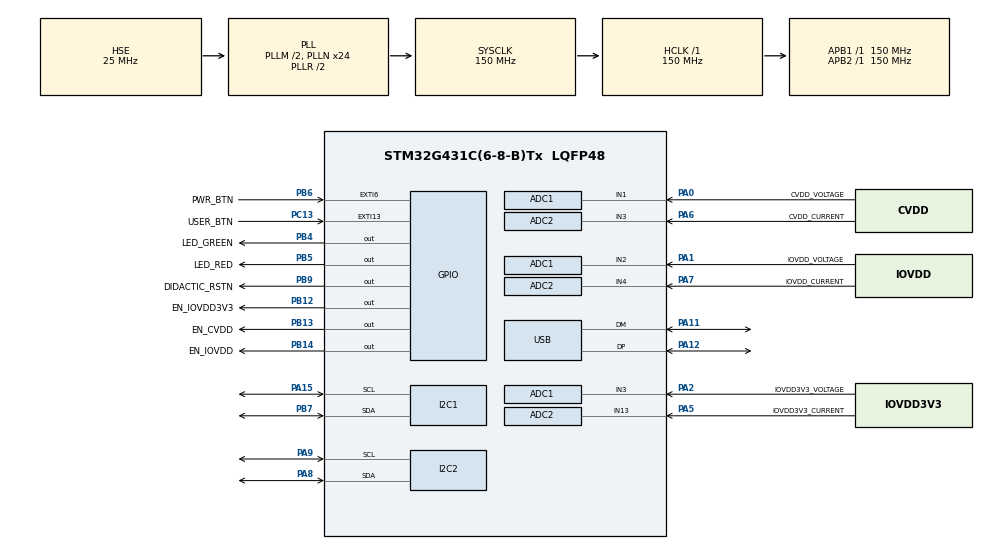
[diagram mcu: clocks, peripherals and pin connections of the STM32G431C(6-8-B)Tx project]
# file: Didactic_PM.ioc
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ADC1.Channel-0\#ChannelRegularConversion=ADC_CHANNEL_1
ADC1.Channel-1\#ChannelRegularConversion=ADC_CHANNEL_2
ADC1.Channel-2\#ChannelRegularConversion=ADC_CHANNEL_3
ADC1.ContinuousConvMode=ENABLE
ADC1.DMAContinuousRequests=DISABLE
ADC1.EOCSelection=ADC_EOC_SEQ_CONV
ADC1.NbrOfConversion=3
ADC1.NbrOfConversionFlag=1
ADC1.OffsetNumber-0\#ChannelRegularConversion=ADC_OFFSET_NONE
ADC1.OffsetNumber-1\#ChannelRegularConversion=ADC_OFFSET_NONE
ADC1.OffsetNumber-2\#ChannelRegularConversion=ADC_OFFSET_NONE
ADC1.Overrun=ADC_OVR_DATA_OVERWRITTEN
ADC1.Rank-0\#ChannelRegularConversion=1
ADC1.Rank-1\#ChannelRegularConversion=2
ADC1.Rank-2\#ChannelRegularConversion=3
ADC1.SamplingTime-0\#ChannelRegularConversion=ADC_SAMPLETIME_12CYCLES_5
ADC1.SamplingTime-1\#ChannelRegularConversion=ADC_SAMPLETIME_12CYCLES_5
ADC1.SamplingTime-2\#ChannelRegularConversion=ADC_SAMPLETIME_12CYCLES_5
ADC1.master=1
ADC2.Channel-0\#ChannelRegularConversion=ADC_CHANNEL_3
ADC2.Channel-1\#ChannelRegularConversion=ADC_CHANNEL_4
ADC2.Channel-2\#ChannelRegularConversion=ADC_CHANNEL_13
ADC2.ContinuousConvMode=ENABLE
ADC2.DMAContinuousRequests=DISABLE
ADC2.EOCSelection=ADC_EOC_SEQ_CONV
ADC2.NbrOfConversion=3
ADC2.NbrOfConversionFlag=1
ADC2.OffsetNumber-0\#ChannelRegularConversion=ADC_OFFSET_NONE
ADC2.OffsetNumber-1\#ChannelRegularConversion=ADC_OFFSET_NONE
ADC2.OffsetNumber-2\#ChannelRegularConversion=ADC_OFFSET_NONE
ADC2.Overrun=ADC_OVR_DATA_OVERWRITTEN
ADC2.Rank-0\#ChannelRegularConversion=1
ADC2.Rank-1\#ChannelRegularConversion=2
ADC2.Rank-2\#ChannelRegularConversion=3
ADC2.SamplingTime-0\#ChannelRegularConversion=ADC_SAMPLETIME_12CYCLES_5
ADC2.SamplingTime-1\#ChannelRegularConversion=ADC_SAMPLETIME_12CYCLES_5
ADC2.SamplingTime-2\#ChannelRegularConversion=ADC_SAMPLETIME_12CYCLES_5
Dma.ADC1.0.Direction=DMA_PERIPH_TO_MEMORY
Dma.ADC1.0.EventEnable=DISABLE
Dma.ADC1.0.Instance=DMA1_Channel1
Dma.ADC1.0.MemDataAlignment=DMA_MDATAALIGN_HALFWORD
Dma.ADC1.0.MemInc=DMA_MINC_ENABLE
Dma.ADC1.0.Mode=DMA_NORMAL
Dma.ADC1.0.PeriphDataAlignment=DMA_PDATAALIGN_HALFWORD
Dma.ADC1.0.PeriphInc=DMA_PINC_DISABLE
Dma.ADC1.0.Polarity=HAL_DMAMUX_REQ_GEN_RISING
Dma.ADC1.0.Priority=DMA_PRIORITY_LOW
Dma.ADC1.0.RequestNumber=1
Dma.ADC1.0.SignalID=NONE
Dma.ADC1.0.SyncEnable=DISABLE
Dma.ADC1.0.SyncPolarity=HAL_DMAMUX_SYNC_NO_EVENT
Dma.ADC1.0.SyncRequestNumber=1
Dma.ADC1.0.SyncSignalID=NONE
Dma.ADC2.1.Direction=DMA_PERIPH_TO_MEMORY
Dma.ADC2.1.EventEnable=DISABLE
Dma.ADC2.1.Instance=DMA1_Channel2
Dma.ADC2.1.MemDataAlignment=DMA_MDATAALIGN_HALFWORD
Dma.ADC2.1.MemInc=DMA_MINC_ENABLE
Dma.ADC2.1.Mode=DMA_NORMAL
Dma.ADC2.1.PeriphDataAlignment=DMA_PDATAALIGN_HALFWORD
Dma.ADC2.1.PeriphInc=DMA_PINC_DISABLE
Dma.ADC2.1.Polarity=HAL_DMAMUX_REQ_GEN_RISING
Dma.ADC2.1.Priority=DMA_PRIORITY_LOW
Dma.ADC2.1.RequestNumber=1
Dma.ADC2.1.SignalID=NONE
Dma.ADC2.1.SyncEnable=DISABLE
Dma.ADC2.1.SyncPolarity=HAL_DMAMUX_SYNC_NO_EVENT
Dma.ADC2.1.SyncRequestNumber=1
Dma.ADC2.1.SyncSignalID=NONE
Dma.Request0=ADC1
Dma.Request1=ADC2
I2C1.Timing=0x30D293D6
I2C2.Timing=0x30D293D6
Mcu.Family=STM32G4
Mcu.Name=STM32G431C(6-8-B)Tx
Mcu.Package=LQFP48
NVIC.DMA1_Channel1_IRQn=true\:0\:0\:false\:false\:true\:false\:true\:true
NVIC.DMA1_Channel2_IRQn=true\:0\:0\:false\:false\:true\:false\:true\:true
NVIC.EXTI15_10_IRQn=true\:0\:0\:false\:false\:true\:true\:true\:true
NVIC.EXTI9_5_IRQn=true\:0\:0\:false\:false\:true\:true\:true\:true
NVIC.PriorityGroup=NVIC_PRIORITYGROUP_4
NVIC.USB_LP_IRQn=true\:0\:0\:false\:false\:true\:false\:true\:true
PA0.GPIO_Label=CVDD_VOLTAGE
PA0.Mode=IN1-Single-Ended
PA0.Signal=ADC1_IN1
PA1.GPIO_Label=IOVDD_VOLTAGE
PA1.Mode=IN2-Single-Ended
PA1.Signal=ADC1_IN2
PA11.Mode=Device
PA11.Signal=USB_DM
PA12.Mode=Device
PA12.Signal=USB_DP
PA13.Mode=Trace_Asynchronous_SW
PA13.Signal=SYS_JTMS-SWDIO
PA14.Mode=Trace_Asynchronous_SW
PA14.Signal=SYS_JTCK-SWCLK
PA15.Mode=I2C
PA15.Signal=I2C1_SCL
PA2.GPIO_Label=IOVDD3V3_VOLTAGE
PA2.Mode=IN3-Single-Ended
PA2.Signal=ADC1_IN3
PA5.GPIO_Label=IOVDD3V3_CURRENT
PA5.Mode=IN13-Single-Ended
PA5.Signal=ADC2_IN13
PA6.GPIO_Label=CVDD_CURRENT
PA6.Mode=IN3-Single-Ended
PA6.Signal=ADC2_IN3
PA7.GPIO_Label=IOVDD_CURRENT
PA7.Mode=IN4-Single-Ended
PA7.Signal=ADC2_IN4
PA8.Mode=I2C
PA8.Signal=I2C2_SDA
PA9.Mode=I2C
PA9.Signal=I2C2_SCL
PB12.GPIO_Label=EN_IOVDD3V3
PB12.Signal=GPIO_Output
PB13.GPIO_Label=EN_CVDD
PB13.Signal=GPIO_Output
PB14.GPIO_Label=EN_IOVDD
PB14.Signal=GPIO_Output
PB3.Mode=Trace_Asynchronous_SW
PB3.Signal=SYS_JTDO-SWO
PB4.GPIO_Label=LED_GREEN
PB4.Signal=GPIO_Output
PB5.GPIO_Label=LED_RED
PB5.Signal=GPIO_Output
PB6.GPIO_Label=PWR_BTN
PB6.GPIO_ModeDefaultEXTI=GPIO_MODE_IT_FALLING
PB6.Signal=GPXTI6
PB7.Mode=I2C
PB7.Signal=I2C1_SDA
PB9.GPIO_Label=DIDACTIC_RSTN
PB9.GPIO_ModeDefaultOutputPP=GPIO_MODE_OUTPUT_OD
PB9.GPIO_PuPd=GPIO_NOPULL
PB9.Signal=GPIO_Output
PC13.GPIO_Label=USER_BTN
PC13.Signal=GPXTI13
PF0-OSC_IN.Mode=HSE-External-Oscillator
PF0-OSC_IN.Signal=RCC_OSC_IN
PF1-OSC_OUT.Mode=HSE-External-Oscillator
PF1-OSC_OUT.Signal=RCC_OSC_OUT
ProjectManager.HeapSize=0x200
ProjectManager.StackSize=0x400
ProjectManager.TargetToolchain=STM32CubeIDE
RCC.ADC12Freq_Value=150000000
RCC.AHBFreq_Value=150000000
RCC.APB1Freq_Value=150000000
RCC.APB1TimFreq_Value=150000000
RCC.APB2Freq_Value=150000000
RCC.APB2TimFreq_Value=150000000
RCC.CK48CLockSelection=RCC_USBCLKSOURCE_HSI48
RCC.CortexFreq_Value=150000000
RCC.EXTERNAL_CLOCK_VALUE=12288000
RCC.HCLKFreq_Value=150000000
RCC.HSE_VALUE=25000000
RCC.HSI48_VALUE=48000000
RCC.HSI_VALUE=16000000
RCC.LSE_VALUE=32768
RCC.PLLM=RCC_PLLM_DIV2
RCC.PLLN=24
RCC.PLLQ=RCC_PLLQ_DIV4
RCC.PLLSourceVirtual=RCC_PLLSOURCE_HSE
RCC.RCC_MCO1Source=RCC_MCO1SOURCE_HSI48
RCC.SYSCLKFreq_VALUE=150000000
RCC.SYSCLKSource=RCC_SYSCLKSOURCE_PLLCLK
RCC.USBFreq_Value=48000000
RCC.VCOOutputFreq_Value=300000000
USB_DEVICE.CLASS_NAME_FS=CDC
USB_DEVICE.VirtualMode=Cdc
USB_DEVICE.VirtualModeFS=Cdc_FS
VP_IWDG_VS_IWDG.Mode=IWDG_Activate
VP_RCC_VS_USB.Mode=USB_FS
VP_SYS_VS_DBSignals.Mode=DisableDeadBatterySignals
VP_USB_DEVICE_VS_USB_DEVICE_CDC_FS.Mode=CDC_FS
board=custom

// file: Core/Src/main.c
/* USER CODE BEGIN Header */
/**
 ******************************************************************************
 * @file           : main.c
 * @brief          : Main program body
 ******************************************************************************
 * @attention
 *
 * Copyright (c) 2025 STMicroelectronics.
 * All rights reserved.
 *
 * This software is licensed under terms that can be found in the LICENSE file
 * in the root directory of this software component.
 * If no LICENSE file comes with this software, it is provided AS-IS.
 *
 ******************************************************************************
 */
/* USER CODE END Header */
#include "main.h"
#include "adc.h"
#include "dma.h"
#include "i2c.h"
#include "iwdg.h"
#include "usb_device.h"
#include "gpio.h"

/* USER CODE BEGIN Includes */
#include <stdarg.h> //for va_list var arg functions
#include "si5351.h"
#include "powerRails.h"
#include "usefulFunctions.h"
#include "flash.h"
/* USER CODE END Includes */

void SystemClock_Config(void);
/* USER CODE BEGIN PFP */
void USBprintf(const char *fmt, ...);

uint8_t USBReceiveBuffer[64];
uint32_t lastPWRButtonTime = 0;
volatile uint8_t startUpPressed = 0;
volatile uint8_t startClock = 0;
volatile uint8_t stopClock = 0;

volatile uint16_t adcBufferVoltage[SAMPLE_COUNT * POWER_RAIL_COUNT]; //Buffer for reading ADC1 values (Voltages)
volatile uint16_t adcBufferCurrent[SAMPLE_COUNT * CURRENT_CHANNEL_COUNT]; //Buffer for reading ADC2 values (Currents)

extern powerRail_t *powerRails[POWER_RAIL_COUNT];

/* USER CODE END PFP */

int main(void)
{

  /* MCU Configuration--------------------------------------------------------*/

  /* Reset of all peripherals, Initializes the Flash interface and the Systick. */
  HAL_Init();

  /* Configure the system clock */
  SystemClock_Config();

  /* Initialize all configured peripherals */
  MX_GPIO_Init();
  MX_DMA_Init();
  MX_USB_Device_Init();
  MX_ADC1_Init();
  MX_ADC2_Init();
  MX_I2C2_Init();
  MX_I2C1_Init();
  MX_IWDG_Init();
  /* USER CODE BEGIN 2 */
	//Set Didactic reset
	setReset(0);
	HAL_ADCEx_Calibration_Start(&hadc1, ADC_SINGLE_ENDED);
	HAL_ADCEx_Calibration_Start(&hadc2, ADC_SINGLE_ENDED);

	smartUSBPrint("Didactic board powered up \r\n");
	HAL_ADC_Start_DMA(&hadc1, (uint32_t*) adcBufferVoltage, POWER_RAIL_COUNT*SAMPLE_COUNT);
	HAL_ADC_Start_DMA(&hadc2, (uint32_t*) adcBufferCurrent, SAMPLE_COUNT * CURRENT_CHANNEL_COUNT);

	printInfo();

	saveDefaultValues(powerRails, POWER_RAIL_COUNT);
	if( *(__IO uint32_t*)0x0801F800 !=  0xDEADBEEF){
		restoreDefaultValues(powerRails, POWER_RAIL_COUNT);
		smartUSBPrint("\r\n Can't load config from Flash. Loading default config\r\n");
	}
	else{
		readPowerRailDataFromFlash(powerRails, POWER_RAIL_COUNT);
	}

  /* USER CODE END 2 */

  /* Infinite loop */
  /* USER CODE BEGIN WHILE */
	while (1) {
		HAL_IWDG_Refresh(&hiwdg);
		//Logic for handling power button presses
		if (startUpPressed) {
			startUpPressed = 0;

			if (getPowerStatus() == OFF) {
				startUp();
				setPrintInfoFlag();
			} else if (getPowerStatus() == ON) {
				turnOff();
				setPrintInfoFlag();
			}
		}

		if(startClock == 1){
			startClock = 0;
			enableClock();
		}
		else if(stopClock == 1){
			stopClock = 0;
			disableClock();
		}

		greenLEDLogic();
		redLEDLogic();
		printVoltages();
		smartUSBPrintNext();

    /* USER CODE END WHILE */

	}
}

void SystemClock_Config(void)
{
  RCC_OscInitTypeDef RCC_OscInitStruct = {0};
  RCC_ClkInitTypeDef RCC_ClkInitStruct = {0};
  RCC_CRSInitTypeDef pInit = {0};

  /** Configure the main internal regulator output voltage
  */
  HAL_PWREx_ControlVoltageScaling(PWR_REGULATOR_VOLTAGE_SCALE1);

  /** Initializes the RCC Oscillators according to the specified parameters
  * in the RCC_OscInitTypeDef structure.
  */
  RCC_OscInitStruct.OscillatorType = RCC_OSCILLATORTYPE_HSI48|RCC_OSCILLATORTYPE_LSI
                              |RCC_OSCILLATORTYPE_HSE;
  RCC_OscInitStruct.HSEState = RCC_HSE_ON;
  RCC_OscInitStruct.LSIState = RCC_LSI_ON;
  RCC_OscInitStruct.HSI48State = RCC_HSI48_ON;
  RCC_OscInitStruct.PLL.PLLState = RCC_PLL_ON;
  RCC_OscInitStruct.PLL.PLLSource = RCC_PLLSOURCE_HSE;
  RCC_OscInitStruct.PLL.PLLM = RCC_PLLM_DIV2;
  RCC_OscInitStruct.PLL.PLLN = 24;
  RCC_OscInitStruct.PLL.PLLP = RCC_PLLP_DIV2;
  RCC_OscInitStruct.PLL.PLLQ = RCC_PLLQ_DIV4;
  RCC_OscInitStruct.PLL.PLLR = RCC_PLLR_DIV2;
  if (HAL_RCC_OscConfig(&RCC_OscInitStruct) != HAL_OK)
  {
    Error_Handler();
  }

  /** Initializes the CPU, AHB and APB buses clocks
  */
  RCC_ClkInitStruct.ClockType = RCC_CLOCKTYPE_HCLK|RCC_CLOCKTYPE_SYSCLK
                              |RCC_CLOCKTYPE_PCLK1|RCC_CLOCKTYPE_PCLK2;
  RCC_ClkInitStruct.SYSCLKSource = RCC_SYSCLKSOURCE_PLLCLK;
  RCC_ClkInitStruct.AHBCLKDivider = RCC_SYSCLK_DIV1;
  RCC_ClkInitStruct.APB1CLKDivider = RCC_HCLK_DIV1;
  RCC_ClkInitStruct.APB2CLKDivider = RCC_HCLK_DIV1;

  if (HAL_RCC_ClockConfig(&RCC_ClkInitStruct, FLASH_LATENCY_4) != HAL_OK)
  {
    Error_Handler();
  }

  /** Enable the SYSCFG APB clock
  */
  __HAL_RCC_CRS_CLK_ENABLE();

  /** Configures CRS
  */
  pInit.Prescaler = RCC_CRS_SYNC_DIV1;
  pInit.Source = RCC_CRS_SYNC_SOURCE_USB;
  pInit.Polarity = RCC_CRS_SYNC_POLARITY_RISING;
  pInit.ReloadValue = __HAL_RCC_CRS_RELOADVALUE_CALCULATE(48000000,1000);
  pInit.ErrorLimitValue = 34;
  pInit.HSI48CalibrationValue = 32;

  HAL_RCCEx_CRSConfig(&pInit);
}

/* USER CODE BEGIN 4 */

/**
 * @bried callback function for GPIO interrupt
 * @aram GPIO_Pin the pin which caused the interrupt
 */
void HAL_GPIO_EXTI_Callback(uint16_t GPIO_Pin) {
	if (GPIO_Pin == PWR_BTN_Pin) {
		if (HAL_GetTick() - lastPWRButtonTime > 1500) { //Debounce
			lastPWRButtonTime = HAL_GetTick();
			startUpPressed = 1;
		}
	}
}

/* USER CODE END 4 */

void Error_Handler(void)
{
	__disable_irq();
	while (1) {
	}
}
